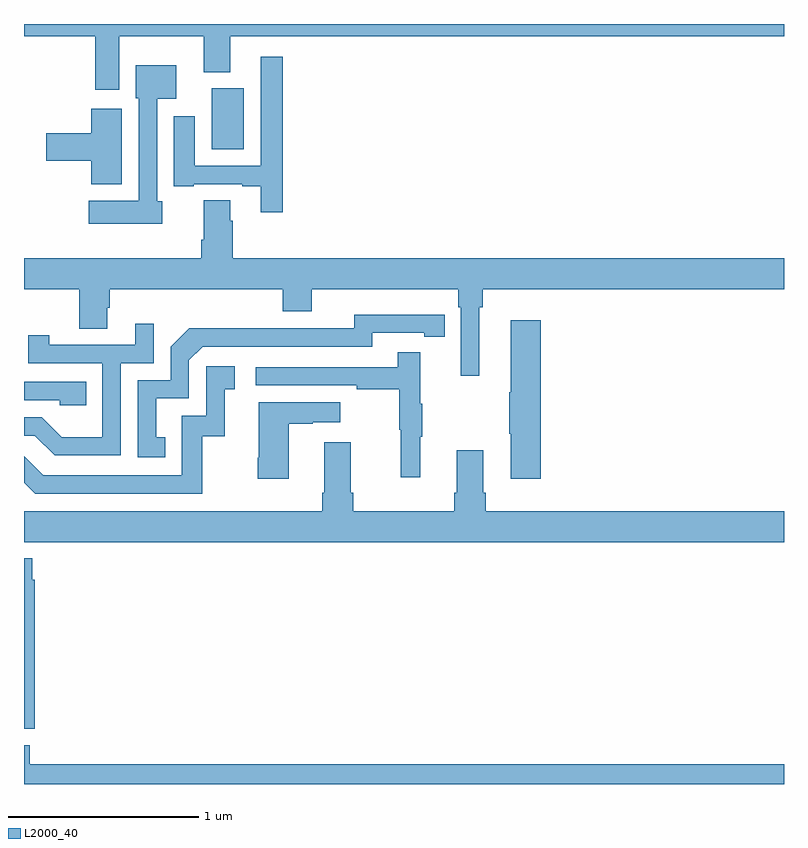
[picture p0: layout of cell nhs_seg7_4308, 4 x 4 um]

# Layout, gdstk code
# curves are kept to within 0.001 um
import gdstk
lib = gdstk.Library(unit=1e-6, precision=1e-09)
def R(c, l, rs):  # rectangles x0, y0, x1, y1
    for r in rs: c.add(gdstk.rectangle(r[:2], r[2:], *l))
def P(c, l, *ps):  # polygons
    for p in ps: c.add(gdstk.Polygon(p, *l))
L2000_40 = (2000, 40)

nhs_seg7_4308 = lib.new_cell('nhs_seg7_4308')
R(nhs_seg7_4308, L2000_40, [(383.987,1013.342,384.157,1013.662)])
P(nhs_seg7_4308, L2000_40, [(383.5,1013.936),(383.945,1013.936),(383.945,1013.747),(384.085,1013.747),(384.085,1013.936),(387,1013.936),(387,1014),(383,1014),(383,1013.936),(383.375,1013.936),(383.375,1013.655),(383.5,1013.655)],
  [(384.362,1013.827),(384.246,1013.827),(384.246,1013.253),(383.899,1013.253),(383.899,1013.515),(383.789,1013.515),(383.789,1013.145),(383.893,1013.145),(383.893,1013.157),(384.149,1013.157),(384.149,1013.145),(384.245,1013.145),(384.245,1013.01),(384.362,1013.01)],
  [(383.728,1013.067),(383.7,1013.067),(383.7,1013.606),(383.8,1013.606),(383.8,1013.782),(383.588,1013.782),(383.588,1013.61),(383.604,1013.61),(383.604,1013.071),(383.34,1013.071),(383.34,1012.949),(383.728,1012.949)],
  [(383.515,1013.554),(383.354,1013.554),(383.354,1013.426),(383.118,1013.426),(383.118,1013.279),(383.354,1013.279),(383.354,1013.156),(383.515,1013.156)],
  [(385.396,1012.508),(385.415,1012.508),(385.415,1012.604),(387,1012.604),(387,1012.768),(384.098,1012.768),(384.098,1012.964),(384.085,1012.964),(384.085,1013.072),(383.945,1013.072),(383.945,1012.864),(383.933,1012.864),(383.933,1012.768),(383,1012.768),(383,1012.604),(383.29,1012.604),(383.29,1012.396),(383.437,1012.396),(383.437,1012.506),(383.45,1012.506),(383.45,1012.604),(384.362,1012.604),(384.362,1012.487),(384.514,1012.487),(384.514,1012.604),(385.286,1012.604),(385.286,1012.508),(385.299,1012.508),(385.299,1012.149),(385.396,1012.149)],
  [(383.744,1011.825),(383.695,1011.825),(383.695,1012.029),(383.868,1012.029),(383.868,1012.23),(383.94,1012.302),(384.834,1012.302),(384.834,1012.374),(385.106,1012.374),(385.106,1012.354),(385.214,1012.354),(385.214,1012.47),(384.738,1012.471),(384.738,1012.398),(384.278,1012.398),(384.278,1012.4),(383.87,1012.4),(383.772,1012.302),(383.772,1012.125),(383.598,1012.125),(383.598,1011.72),(383.744,1011.72)],
  [(385.721,1012.441),(385.562,1012.441),(385.562,1012.061),(385.555,1012.061),(385.555,1011.844),(385.562,1011.844),(385.562,1011.606),(385.721,1011.606)],
  [(383.508,1012.215),(383.682,1012.215),(383.682,1012.423),(383.585,1012.423),(383.585,1012.311),(383.134,1012.311),(383.134,1012.363),(383.023,1012.363),(383.023,1012.215),(383.412,1012.215),(383.412,1011.826),(383.198,1011.826),(383.094,1011.93),(383,1011.93),(383,1011.834),(383.057,1011.834),(383.162,1011.729),(383.508,1011.729)],
  [(385.085,1011.827),(385.096,1011.827),(385.096,1012.001),(385.085,1012.001),(385.085,1012.273),(384.967,1012.273),(384.967,1012.194),(384.219,1012.194),(384.219,1012.098),(384.751,1012.098),(384.751,1012.078),(384.975,1012.078),(384.975,1011.864),(384.982,1011.864),(384.982,1011.615),(385.085,1011.615)],
  [(383.938,1011.831),(384.056,1011.831),(384.056,1012.077),(384.109,1012.077),(384.109,1012.198),(383.958,1012.198),(383.958,1011.939),(383.829,1011.939),(383.829,1011.624),(383.1,1011.624),(383,1011.724),(383,1011.586),(383.058,1011.528),(383.938,1011.528)],
  [(383.327,1012.116),(383,1012.116),(383,1012.02),(383.187,1012.02),(383.187,1011.993),(383.327,1011.993)],
  [(384.394,1011.895),(384.521,1011.895),(384.521,1011.905),(384.664,1011.905),(384.664,1012.009),(384.236,1012.009),(384.236,1011.718),(384.229,1011.718),(384.229,1011.606),(384.394,1011.606)],
  [(387,1011.436),(385.43,1011.436),(385.43,1011.532),(385.417,1011.532),(385.417,1011.757),(385.277,1011.757),(385.277,1011.532),(385.265,1011.532),(385.265,1011.436),(384.734,1011.436),(384.734,1011.532),(384.721,1011.532),(384.721,1011.799),(384.581,1011.799),(384.581,1011.532),(384.569,1011.532),(384.569,1011.436),(383,1011.436),(383,1011.272),(387,1011.272)],
  [(383.057,1011.074),(383.044,1011.074),(383.044,1011.187),(383,1011.187),(383,1010.291),(383.057,1010.291)],
  [(387,1010.104),(383.03,1010.104),(383.03,1010.203),(383,1010.203),(383,1010),(387,1010)])

lib.write_gds('nhs_seg7_4308.gds')
